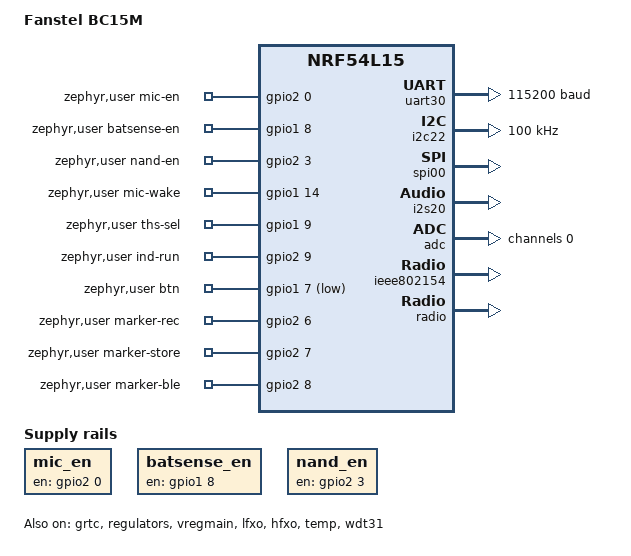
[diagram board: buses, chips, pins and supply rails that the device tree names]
/dts-v1/;

#include <nordic/nrf54l15_cpuapp.dtsi>
#include <zephyr/dt-bindings/adc/adc.h>
#include "bc15m-pinctrl.dtsi"

/ {
	model = "Fanstel BC15M";
	compatible = "fanstel,bc15m-cpuapp";

	chosen {
		zephyr,code-partition = &slot0_partition;
		zephyr,sram = &cpuapp_sram;
		zephyr,flash = &cpuapp_rram;
		zephyr,flash-controller = &rram_controller;
		zephyr,console = &uart30;
		zephyr,shell-uart = &uart30;
		nordic,rpc-uart = &uart30;
		zephyr,ieee802154 = &ieee802154;
	};

	aliases {
		watchdog0 = &wdt31;
	};

	zephyr,user {
		mic-en-gpios = <&gpio2 0 GPIO_ACTIVE_HIGH>;
		batsense-en-gpios = <&gpio1 8 GPIO_ACTIVE_HIGH>;
		nand-en-gpios = <&gpio2 3 GPIO_ACTIVE_HIGH>;
		mic-wake-gpios = <&gpio1 14 GPIO_ACTIVE_HIGH>;
		ths-sel-gpios = <&gpio1 9 GPIO_ACTIVE_HIGH>;
		ind-run-gpios = <&gpio2 9 GPIO_ACTIVE_HIGH>;
		btn-gpios = <&gpio1 7 (GPIO_PULL_UP | GPIO_ACTIVE_LOW)>;
		marker-rec-gpios = <&gpio2 6 GPIO_ACTIVE_HIGH>;
		marker-store-gpios = <&gpio2 7 GPIO_ACTIVE_HIGH>;
		marker-ble-gpios = <&gpio2 8 GPIO_ACTIVE_HIGH>;
	};

	mic_en: mic-en {
		compatible = "regulator-fixed";
		regulator-name = "MIC_1V8";
		enable-gpios = <&gpio2 0 GPIO_ACTIVE_HIGH>;
	};

	batsense_en: batsense-en {
		compatible = "regulator-fixed";
		regulator-name = "VBAT_SENSE";
		enable-gpios = <&gpio1 8 GPIO_ACTIVE_HIGH>;
	};

	nand_en: nand-en {
		compatible = "regulator-fixed";
		regulator-name = "NAND_1V8";
		enable-gpios = <&gpio2 3 GPIO_ACTIVE_HIGH>;
	};
};

&cpuapp_sram {
	status = "okay";
};

&grtc {
	owned-channels = <0 1 2 3 4 5 6 7 8 9 10 11>;
	child-owned-channels = <3 4 7 8 9 10 11>;
	status = "okay";
};

&clock {
	status = "okay";
};

&uart30 {
	status = "okay";
	current-speed = <115200>;
	pinctrl-0 = <&uart30_default>;
	pinctrl-1 = <&uart30_sleep>;
	pinctrl-names = "default", "sleep";
};

&i2c22 {
	status = "okay";
	clock-frequency = <100000>;
	pinctrl-0 = <&i2c22_default>;
	pinctrl-1 = <&i2c22_sleep>;
	pinctrl-names = "default", "sleep";
};

&spi00 {
	status = "okay";
	cs-gpios = <&gpio2 5 GPIO_ACTIVE_LOW>;
	pinctrl-0 = <&spi00_default>;
	pinctrl-1 = <&spi00_sleep>;
	pinctrl-names = "default", "sleep";
};

&i2s20 {
	status = "okay";
	clock-source = "PCLK32M_HFXO";
	pinctrl-0 = <&i2s20_default>;
	pinctrl-names = "default";
};

&adc {
	status = "okay";
	#address-cells = <1>;
	#size-cells = <0>;

	channel@0 {
		reg = <0>;
		zephyr,gain = "ADC_GAIN_1_4";
		zephyr,reference = "ADC_REF_INTERNAL";
		zephyr,acquisition-time = <ADC_ACQ_TIME(ADC_ACQ_TIME_MICROSECONDS, 40)>;
		zephyr,input-positive = <NRF_SAADC_AIN0>;
		zephyr,resolution = <12>;
		zephyr,oversampling = <8>;
	};
};

&gpio0 {
	status = "okay";
};

&gpio1 {
	status = "okay";
};

&gpio2 {
	status = "okay";
};

&gpiote20 {
	status = "okay";
};

&gpiote30 {
	status = "okay";
};

&regulators {
	status = "okay";
};

&vregmain {
	status = "okay";
	regulator-initial-mode = <NRF5X_REG_MODE_DCDC>;
};

&lfxo {
	load-capacitors = "internal";
	load-capacitance-femtofarad = <7000>;
	status = "okay";
};

&hfxo {
	load-capacitors = "internal";
	load-capacitance-femtofarad = <17000>;
	status = "okay";
};

&ieee802154 {
	status = "okay";
};

&temp {
	status = "okay";
};

&radio {
	status = "okay";
};

&wdt31 {
	status = "okay";
};

/* P1.03 is the I2S WS pin; the NFC function must not claim it. */
&nfct {
	status = "disabled";
};

&uicr {
	nfct-pins-as-gpios;
};

/* Standard rev 0 has no PDM microphone. */
/delete-node/ &pdm20;

#include <vendor/nordic/nrf54l15_cpuapp_partition.dtsi>
